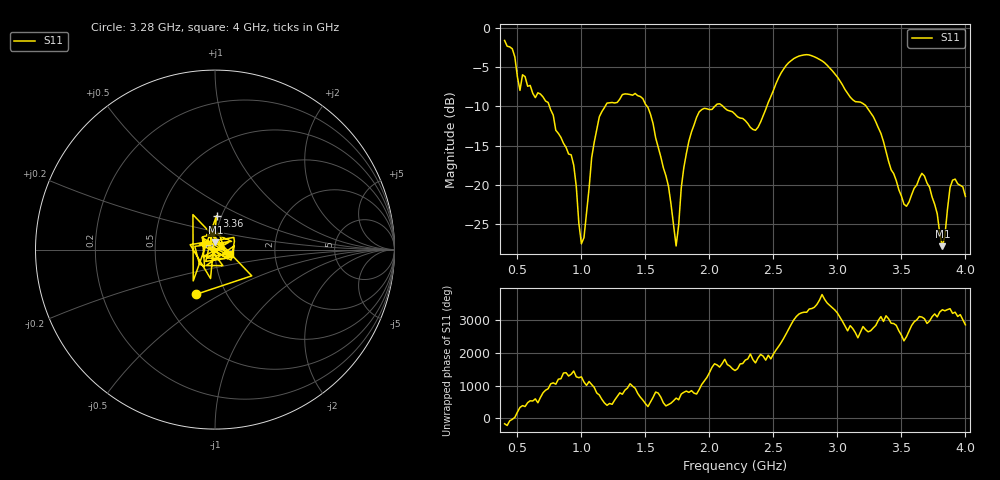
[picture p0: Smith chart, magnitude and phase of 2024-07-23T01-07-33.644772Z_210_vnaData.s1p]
!Created with skrf (http://scikit-rf.org).
# Hz S RI R 50.0
!freq ReS11 ImS11
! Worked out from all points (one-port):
!   181 points, 400 MHz to 4 GHz, reference 50 ohm
!   lowest |S11| = -27.8 dB at 3.82 GHz (marker M1), VSWR 1.09, Z = 50.1 + j4.09 ohm
!   |S11| at or under -10 dB: 750.2 MHz to 1.186 GHz (435.8 MHz wide, 45 % of centre); 1.512 GHz to 2.043 GHz (530.7 MHz wide, 29.9 % of centre); 3.224 GHz to end of sweep (the widest 3 of 4)
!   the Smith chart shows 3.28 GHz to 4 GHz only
!   S11 on the Smith chart (normalised r, x): 3.28 GHz: 0.72, -0.39; 3.36 GHz: 0.95, +0.37; 4 GHz: 1.17, -0.06
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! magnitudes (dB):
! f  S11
! 400 MHz  -1.6
! 480 MHz  -3.7
! 520 MHz  -8.0
! 540 MHz  -6.0
! 740 MHz  -9.5
! 860 MHz  -14.7
! 940 MHz  -17.5
! 1 GHz  -27.5
! 1.14 GHz  -11.3
! 1.3 GHz  -9.1
! 1.52 GHz  -10.2
! 1.68 GHz  -20.1
! 1.74 GHz  -27.8
! 1.76 GHz  -25.1
! 1.82 GHz  -16.0
! 1.92 GHz  -10.7
! 2.2 GHz  -11.0
! 2.36 GHz  -13.1
! 2.66 GHz  -3.9
! 2.88 GHz  -4.2
! 3.1 GHz  -8.8
! 3.28 GHz  -11.3
! 3.36 GHz  -14.5
! 3.56 GHz  -22.2
! 3.68 GHz  -18.9
! 3.82 GHz  -27.8
! 3.9 GHz  -19.4
! 4 GHz  -21.5
